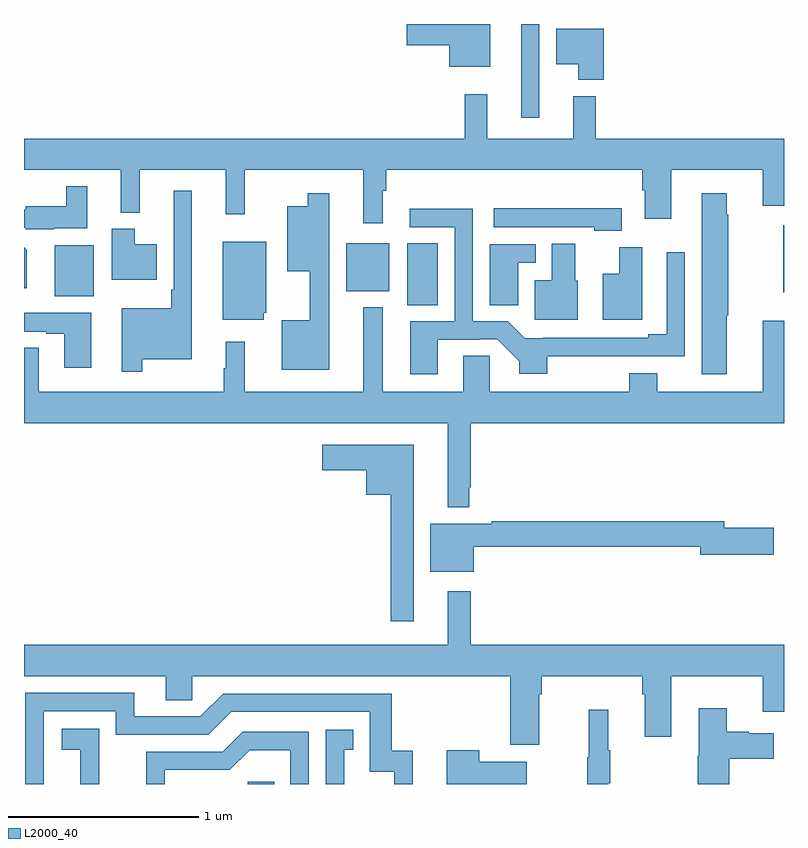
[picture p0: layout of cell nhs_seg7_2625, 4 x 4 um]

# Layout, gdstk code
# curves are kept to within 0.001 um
import gdstk
lib = gdstk.Library(unit=1e-6, precision=1e-09)
def R(c, l, rs):  # rectangles x0, y0, x1, y1
    for r in rs: c.add(gdstk.rectangle(r[:2], r[2:], *l))
def P(c, l, *ps):  # polygons
    for p in ps: c.add(gdstk.Polygon(p, *l))
L2000_40 = (2000, 40)

nhs_seg7_2625 = lib.new_cell('nhs_seg7_2625')
R(nhs_seg7_2625, L2000_40, [(282.177,1048,282.317,1048.011), (283.016,1050.52,283.177,1050.845), (281.162,1050.566,281.368,1050.836), (284.995,1050.587,285,1050.94), (282.695,1050.593,282.922,1050.847), (283.616,1051.506,283.713,1052)])
P(nhs_seg7_2625, L2000_40, [(283.453,1052),(283.014,1052),(283.014,1051.889),(283.238,1051.889),(283.238,1051.775),(283.453,1051.775)],
  [(284.051,1051.975),(283.802,1051.975),(283.802,1051.787),(283.916,1051.787),(283.916,1051.706),(284.051,1051.706)],
  [(282.889,1051.123),(282.907,1051.123),(282.907,1051.232),(284.255,1051.232),(284.255,1051.126),(284.267,1051.126),(284.267,1050.975),(284.407,1050.975),(284.407,1051.232),(284.888,1051.232),(284.888,1051.044),(285,1051.044),(285,1051.396),(284.009,1051.396),(284.009,1051.621),(283.892,1051.621),(283.892,1051.396),(283.439,1051.396),(283.439,1051.63),(283.321,1051.63),(283.321,1051.396),(281,1051.396),(281,1051.232),(281.51,1051.232),(281.51,1051.007),(281.609,1051.007),(281.609,1051.232),(282.062,1051.232),(282.062,1050.999),(282.162,1050.999),(282.162,1051.232),(282.785,1051.232),(282.785,1050.951),(282.889,1050.951)],
  [(281.16,1050.926),(281.333,1050.926),(281.333,1051.147),(281.223,1051.147),(281.223,1051.042),(281.01,1051.042),(281.01,1051.023),(281,1051.023),(281,1050.927),(281.01,1050.927),(281.01,1050.92),(281.16,1050.92)],
  [(281.623,1050.236),(281.884,1050.236),(281.884,1051.123),(281.787,1051.123),(281.787,1050.601),(281.775,1050.601),(281.775,1050.505),(281.514,1050.505),(281.514,1050.171),(281.623,1050.171)],
  [(282.607,1051.108),(282.493,1051.108),(282.493,1051.042),(282.386,1051.042),(282.386,1050.698),(282.503,1050.698),(282.503,1050.442),(282.356,1050.442),(282.356,1050.179),(282.607,1050.179)],
  [(284.698,1050.468),(284.706,1050.468),(284.706,1050.995),(284.698,1050.995),(284.698,1051.108),(284.567,1051.108),(284.567,1050.156),(284.698,1050.156)],
  [(284.146,1051.03),(283.473,1051.03),(283.473,1050.929),(284.001,1050.929),(284.001,1050.911),(284.146,1050.911)],
  [(283.177,1050.339),(283.397,1050.339),(283.397,1050.342),(283.491,1050.342),(283.607,1050.226),(283.607,1050.158),(283.755,1050.158),(283.755,1050.251),(284.478,1050.252),(284.478,1050.799),(284.382,1050.799),(284.382,1050.368),(284.285,1050.368),(284.285,1050.348),(283.732,1050.348),(283.732,1050.345),(283.636,1050.345),(283.546,1050.435),(283.362,1050.435),(283.362,1051.028),(283.029,1051.028),(283.029,1050.93),(283.266,1050.93),(283.266,1050.435),(283.034,1050.435),(283.034,1050.156),(283.177,1050.156)],
  [(281.698,1050.841),(281.584,1050.841),(281.584,1050.922),(281.462,1050.922),(281.462,1050.653),(281.698,1050.653)],
  [(282.262,1050.48),(282.274,1050.48),(282.274,1050.853),(282.047,1050.853),(282.047,1050.443),(282.262,1050.443)],
  [(283.915,1050.648),(283.9,1050.648),(283.9,1050.844),(283.778,1050.844),(283.778,1050.652),(283.688,1050.652),(283.688,1050.443),(283.915,1050.443)],
  [(283.6,1050.744),(283.693,1050.744),(283.693,1050.84),(283.451,1050.84),(283.451,1050.52),(283.6,1050.52)],
  [(281.014,1050.812),(281,1050.826),(281,1050.608),(281.014,1050.608)],
  [(284.254,1050.826),(284.132,1050.826),(284.132,1050.685),(284.045,1050.685),(284.045,1050.443),(284.254,1050.443)],
  [(283.344,1049.563),(283.351,1049.563),(283.351,1049.9),(285,1049.9),(285,1050.439),(284.888,1050.439),(284.888,1050.064),(284.332,1050.064),(284.332,1050.163),(284.185,1050.163),(284.185,1050.064),(283.452,1050.064),(283.452,1050.254),(283.313,1050.254),(283.313,1050.064),(282.889,1050.064),(282.889,1050.508),(282.785,1050.508),(282.785,1050.064),(282.161,1050.064),(282.161,1050.328),(282.062,1050.328),(282.062,1050.188),(282.051,1050.188),(282.051,1050.064),(281.077,1050.064),(281.077,1050.296),(281,1050.296),(281,1049.9),(283.229,1049.9),(283.229,1049.456),(283.344,1049.456)],
  [(281.353,1050.479),(281,1050.479),(281,1050.381),(281.117,1050.381),(281.117,1050.369),(281.213,1050.369),(281.213,1050.192),(281.353,1050.192)],
  [(283.051,1049.785),(282.57,1049.785),(282.57,1049.651),(282.8,1049.651),(282.8,1049.522),(282.93,1049.522),(282.93,1048.857),(283.051,1048.857)],
  [(283.366,1049.248),(284.558,1049.248),(284.558,1049.206),(284.947,1049.206),(284.947,1049.348),(284.686,1049.348),(284.686,1049.384),(283.462,1049.384),(283.462,1049.371),(283.139,1049.371),(283.139,1049.117),(283.366,1049.117)],
  [(283.711,1048.472),(283.724,1048.472),(283.724,1048.568),(284.255,1048.568),(284.255,1048.472),(284.267,1048.472),(284.267,1048.248),(284.407,1048.248),(284.407,1048.568),(284.888,1048.568),(284.888,1048.38),(285,1048.38),(285,1048.732),(283.351,1048.732),(283.351,1049.014),(283.229,1049.014),(283.229,1048.732),(281,1048.732),(281,1048.568),(281.747,1048.568),(281.747,1048.441),(281.886,1048.441),(281.886,1048.568),(283.559,1048.568),(283.559,1048.206),(283.711,1048.206)],
  [(281.103,1048.383),(281.484,1048.383),(281.484,1048.26),(281.97,1048.26),(282.09,1048.38),(282.819,1048.38),(282.819,1048.065),(282.948,1048.065),(282.948,1048),(283.046,1048),(283.046,1048.174),(282.935,1048.174),(282.935,1048.476),(282.048,1048.476),(281.928,1048.356),(281.581,1048.356),(281.581,1048.479),(281.007,1048.479),(281.007,1048),(281.103,1048)],
  [(284.711,1048.133),(284.947,1048.133),(284.947,1048.267),(284.814,1048.267),(284.814,1048.275),(284.698,1048.275),(284.698,1048.399),(284.552,1048.399),(284.552,1048.149),(284.545,1048.149),(284.545,1048),(284.711,1048)],
  [(284.075,1048.003),(284.086,1048.003),(284.086,1048.177),(284.075,1048.177),(284.075,1048.39),(283.972,1048.39),(283.972,1048.14),(283.965,1048.14),(283.965,1048),(284.075,1048)],
  [(281.396,1048.085),(281.397,1048.085),(281.397,1048.291),(281.199,1048.291),(281.199,1048.181),(281.297,1048.181),(281.297,1048),(281.396,1048)],
  [(282.685,1048.179),(282.734,1048.179),(282.734,1048.285),(282.588,1048.285),(282.588,1048),(282.685,1048)],
  [(281.742,1048.074),(282.084,1048.074),(282.188,1048.178),(282.402,1048.178),(282.402,1048),(282.498,1048),(282.498,1048.275),(282.152,1048.275),(282.047,1048.17),(281.644,1048.17),(281.644,1048),(281.742,1048)],
  [(283.645,1048.117),(283.397,1048.117),(283.397,1048.177),(283.226,1048.177),(283.226,1048),(283.645,1048)])

lib.write_gds('nhs_seg7_2625.gds')
